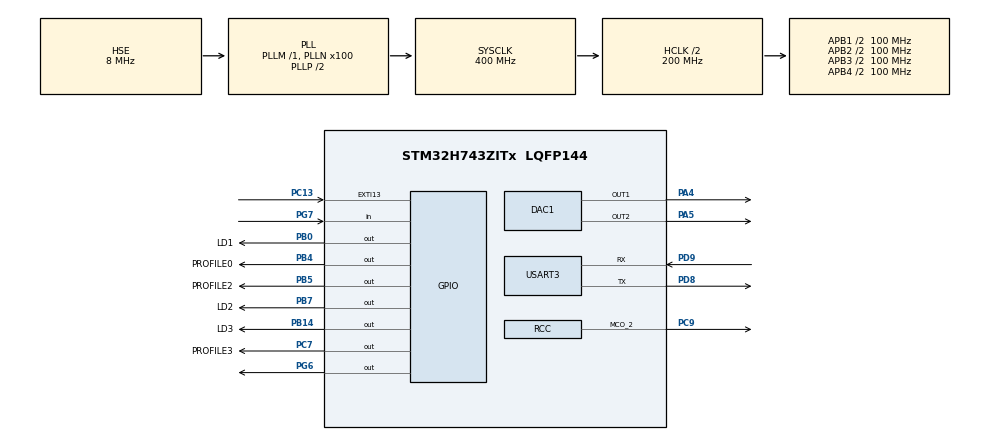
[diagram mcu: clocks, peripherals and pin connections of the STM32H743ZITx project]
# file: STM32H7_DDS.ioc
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CORTEX_M7.CPU_DCache=Disabled
CORTEX_M7.CPU_ICache=Disabled
DAC1.DAC_Channel-DAC_OUT2=DAC_CHANNEL_2
DAC1.DAC_Trigger-DAC_OUT1=DAC_TRIGGER_T6_TRGO
DAC1.DAC_Trigger-DAC_OUT2=DAC_TRIGGER_T6_TRGO
DAC1.WaveGeneration-DAC_OUT1=DISABLE
Dma.DAC1_CH1.0.Direction=DMA_MEMORY_TO_PERIPH
Dma.DAC1_CH1.0.EventEnable=DISABLE
Dma.DAC1_CH1.0.FIFOMode=DMA_FIFOMODE_DISABLE
Dma.DAC1_CH1.0.Instance=DMA1_Stream0
Dma.DAC1_CH1.0.MemDataAlignment=DMA_MDATAALIGN_WORD
Dma.DAC1_CH1.0.MemInc=DMA_MINC_ENABLE
Dma.DAC1_CH1.0.Mode=DMA_CIRCULAR
Dma.DAC1_CH1.0.PeriphDataAlignment=DMA_PDATAALIGN_WORD
Dma.DAC1_CH1.0.PeriphInc=DMA_PINC_DISABLE
Dma.DAC1_CH1.0.Polarity=HAL_DMAMUX_REQ_GEN_RISING
Dma.DAC1_CH1.0.Priority=DMA_PRIORITY_HIGH
Dma.DAC1_CH1.0.RequestNumber=1
Dma.DAC1_CH1.0.SignalID=NONE
Dma.DAC1_CH1.0.SyncEnable=DISABLE
Dma.DAC1_CH1.0.SyncPolarity=HAL_DMAMUX_SYNC_NO_EVENT
Dma.DAC1_CH1.0.SyncRequestNumber=1
Dma.DAC1_CH1.0.SyncSignalID=NONE
Dma.Request0=DAC1_CH1
Mcu.Family=STM32H7
Mcu.Name=STM32H743ZITx
Mcu.Package=LQFP144
NVIC.DMA1_Stream0_IRQn=true\:0\:0\:false\:false\:true\:false\:true
NVIC.PriorityGroup=NVIC_PRIORITYGROUP_4
PA1.GPIO_Mode=GPIO_MODE_AF_PP
PA1.GPIO_PuPd=GPIO_NOPULL
PA1.GPIO_Speed=GPIO_SPEED_FREQ_LOW
PA1.Signal=ETH_REF_CLK
PA10.GPIO_Mode=GPIO_MODE_AF_PP
PA10.GPIO_PuPd=GPIO_NOPULL
PA10.GPIO_Speed=GPIO_SPEED_FREQ_LOW
PA10.Signal=USB_OTG_FS_ID
PA11.GPIO_Mode=GPIO_MODE_AF_PP
PA11.GPIO_PuPd=GPIO_NOPULL
PA11.GPIO_Speed=GPIO_SPEED_FREQ_LOW
PA11.Signal=USB_OTG_FS_DM
PA12.GPIO_Mode=GPIO_MODE_AF_PP
PA12.GPIO_PuPd=GPIO_NOPULL
PA12.GPIO_Speed=GPIO_SPEED_FREQ_LOW
PA12.Signal=USB_OTG_FS_DP
PA13\ (JTMS/SWDIO).Mode=Serial_Wire
PA13\ (JTMS/SWDIO).Signal=DEBUG_JTMS-SWDIO
PA14\ (JTCK/SWCLK).Mode=Serial_Wire
PA14\ (JTCK/SWCLK).Signal=DEBUG_JTCK-SWCLK
PA2.GPIO_Mode=GPIO_MODE_AF_PP
PA2.GPIO_PuPd=GPIO_NOPULL
PA2.GPIO_Speed=GPIO_SPEED_FREQ_LOW
PA2.Signal=ETH_MDIO
PA4.Signal=COMP_DAC11_group
PA5.Signal=COMP_DAC12_group
PA7.GPIO_Mode=GPIO_MODE_AF_PP
PA7.GPIO_PuPd=GPIO_NOPULL
PA7.GPIO_Speed=GPIO_SPEED_FREQ_LOW
PA7.Signal=ETH_CRS_DV
PA8.GPIO_Mode=GPIO_MODE_AF_PP
PA8.GPIO_PuPd=GPIO_NOPULL
PA8.GPIO_Speed=GPIO_SPEED_FREQ_LOW
PA8.Signal=USB_OTG_FS_SOF
PA9.GPIO_Mode=GPIO_MODE_INPUT
PA9.GPIO_PuPd=GPIO_NOPULL
PA9.Signal=USB_OTG_FS_VBUS
PB0.GPIO_Label=LD1
PB0.Signal=GPIO_Output
PB13.GPIO_Mode=GPIO_MODE_AF_PP
PB13.GPIO_PuPd=GPIO_NOPULL
PB13.GPIO_Speed=GPIO_SPEED_FREQ_LOW
PB13.Signal=ETH_TXD1
PB14.GPIO_Label=LD3
PB14.GPIO_ModeDefaultOutputPP=GPIO_MODE_OUTPUT_PP
PB14.GPIO_PuPd=GPIO_NOPULL
PB14.GPIO_Speed=GPIO_SPEED_FREQ_LOW
PB14.PinState=GPIO_PIN_RESET
PB14.Signal=GPIO_Output
PB4\ (NJTRST).GPIO_Label=PROFILE0
PB4\ (NJTRST).Signal=GPIO_Output
PB5.GPIO_Label=PROFILE2
PB5.Signal=GPIO_Output
PB7.GPIO_Label=LD2
PB7.Signal=GPIO_Output
PC1.GPIO_Mode=GPIO_MODE_AF_PP
PC1.GPIO_PuPd=GPIO_NOPULL
PC1.GPIO_Speed=GPIO_SPEED_FREQ_LOW
PC1.Signal=ETH_MDC
PC13.GPIO_ModeDefaultEXTI=GPIO_MODE_IT_RISING
PC13.GPIO_PuPd=GPIO_NOPULL
PC13.Signal=GPXTI13
PC14-OSC32_IN\ (OSC32_IN).Mode=LSE-External-Oscillator
PC14-OSC32_IN\ (OSC32_IN).Signal=RCC_OSC32_IN
PC15-OSC32_OUT\ (OSC32_OUT).Mode=LSE-External-Oscillator
PC15-OSC32_OUT\ (OSC32_OUT).Signal=RCC_OSC32_OUT
PC4.GPIO_Mode=GPIO_MODE_AF_PP
PC4.GPIO_PuPd=GPIO_NOPULL
PC4.GPIO_Speed=GPIO_SPEED_FREQ_LOW
PC4.Signal=ETH_RXD0
PC5.GPIO_Mode=GPIO_MODE_AF_PP
PC5.GPIO_PuPd=GPIO_NOPULL
PC5.GPIO_Speed=GPIO_SPEED_FREQ_LOW
PC5.Signal=ETH_RXD1
PC7.GPIO_Label=PROFILE3
PC7.Signal=GPIO_Output
PC9.Mode=Clock-out-2
PC9.Signal=RCC_MCO_2
PD8.GPIO_ModeDefaultPP=GPIO_MODE_AF_PP
PD8.GPIO_PuPd=GPIO_NOPULL
PD8.GPIO_Speed=GPIO_SPEED_FREQ_LOW
PD8.Mode=Asynchronous
PD8.Signal=USART3_TX
PD9.GPIO_ModeDefaultPP=GPIO_MODE_AF_PP
PD9.GPIO_PuPd=GPIO_NOPULL
PD9.GPIO_Speed=GPIO_SPEED_FREQ_LOW
PD9.Mode=Asynchronous
PD9.Signal=USART3_RX
PG11.GPIO_Mode=GPIO_MODE_AF_PP
PG11.GPIO_PuPd=GPIO_NOPULL
PG11.GPIO_Speed=GPIO_SPEED_FREQ_LOW
PG11.Signal=ETH_TX_EN
PG13.GPIO_Mode=GPIO_MODE_AF_PP
PG13.GPIO_PuPd=GPIO_NOPULL
PG13.GPIO_Speed=GPIO_SPEED_FREQ_LOW
PG13.Signal=ETH_TXD0
PG6.GPIO_ModeDefaultOutputPP=GPIO_MODE_OUTPUT_PP
PG6.GPIO_PuPd=GPIO_NOPULL
PG6.GPIO_Speed=GPIO_SPEED_FREQ_LOW
PG6.PinState=GPIO_PIN_RESET
PG6.Signal=GPIO_Output
PG7.GPIO_Mode=GPIO_MODE_INPUT
PG7.GPIO_PuPd=GPIO_NOPULL
PG7.Signal=GPIO_Input
PH0-OSC_IN\ (PH0).Mode=HSE-External-Clock-Source
PH0-OSC_IN\ (PH0).Signal=RCC_OSC_IN
PH1-OSC_OUT\ (PH1).Signal=RCC_OSC_OUT
ProjectManager.HeapSize=0x200
ProjectManager.StackSize=0x400
ProjectManager.TargetToolchain=STM32CubeIDE
RCC.48MHZClocksFreq_Value=24000000
RCC.ADCFreq_Value=16125000
RCC.AHBFreq_Value=216000000
RCC.APB1CLKDivider=RCC_HCLK_DIV4
RCC.APB1Freq_Value=100000000
RCC.APB1TimFreq_Value=108000000
RCC.APB2CLKDivider=RCC_HCLK_DIV2
RCC.APB2Freq_Value=100000000
RCC.APB2TimFreq_Value=216000000
RCC.APB3Freq_Value=100000000
RCC.APB4Freq_Value=100000000
RCC.CortexFreq_Value=400000000
RCC.D1PPRE=RCC_APB3_DIV2
RCC.D2PPRE1=RCC_APB1_DIV2
RCC.D2PPRE2=RCC_APB2_DIV2
RCC.D3PPRE=RCC_APB4_DIV2
RCC.DIVM1=1
RCC.DIVN1=100
RCC.DIVQ1=20
RCC.HCLKFreq_Value=200000000
RCC.HPRE=RCC_HCLK_DIV2
RCC.HSE_VALUE=8000000
RCC.HSI_VALUE=64000000
RCC.PLLFRACN=0
RCC.PLLM=25
RCC.PLLMUL=RCC_PLL_MUL9
RCC.PLLN=432
RCC.PLLQ=9
RCC.PLLSourceVirtual=RCC_PLLSOURCE_HSE
RCC.PRESCALERUSB=RCC_USBCLKSOURCE_PLL_DIV1_5
RCC.PWR_Regulator_Voltage_Scale=PWR_REGULATOR_VOLTAGE_SCALE0
RCC.RCC_MCO2Source=RCC_MCO2SOURCE_HSE
RCC.SYSCLKFreq_VALUE=400000000
RCC.SYSCLKSource=RCC_SYSCLKSOURCE_PLLCLK
RCC.SYSCLKSourceVirtual=RCC_SYSCLKSOURCE_PLLCLK
RCC.USBFreq_Value=40000000
RCC.VCOOutputFreq_Value=432000000
SH.COMP_DAC11_group.0=DAC1_OUT1,DAC_OUT1
SH.COMP_DAC12_group.0=DAC1_OUT2,DAC_OUT2
TIM6.AutoReloadPreload=TIM_AUTORELOAD_PRELOAD_DISABLE
TIM6.Period=39
TIM6.TIM_MasterOutputTrigger=TIM_TRGO_UPDATE
USART3.VirtualMode-Asynchronous=VM_ASYNC
VP_TIM6_VS_ClockSourceINT.Mode=Enable_Timer
board=NUCLEO-H743ZI

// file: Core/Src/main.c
/* USER CODE BEGIN Header */
/**
  ******************************************************************************
  * @file           : main.c
  * @brief          : Main program body
  ******************************************************************************
  * @attention
  *
  * <h2><center>&copy; Copyright (c) 2020 STMicroelectronics.
  * All rights reserved.</center></h2>
  *
  * This software component is licensed by ST under BSD 3-Clause license,
  * the "License"; You may not use this file except in compliance with the
  * License. You may obtain a copy of the License at:
  *                        opensource.org/licenses/BSD-3-Clause
  *
  ******************************************************************************
  *
  *   Author of non-automatic generated code: papamidas (DM1CR)
  *   Copyright 2020 DM1CR
  *   The non-automatic generated code can be used under the GNU public license
  *
  */

/* USER CODE END Header */

#include "main.h"

/* USER CODE BEGIN Includes */
#include <math.h>
#include <inttypes.h>
#include <stdio.h>
#include <stdlib.h>
/* USER CODE END Includes */

/* USER CODE BEGIN PD */
#define DACMAX 4095
#define DACMID 2048
#define HALFBUFFERSIZE 512
#define FULLBUFFERSIZE 1024
#define SINTABLEN 65536
#define PHASEINCRESETVAL 85899346

/* USER CODE END PD */

DAC_HandleTypeDef hdac1;
DMA_HandleTypeDef hdma_dac1_ch1;

TIM_HandleTypeDef htim6;

UART_HandleTypeDef huart3;

/* USER CODE BEGIN PV */
__attribute__((section(".dma_buffer"))) uint32_t dacbuf[FULLBUFFERSIZE];

volatile uint32_t* dacbufptr = dacbuf;
volatile uint32_t phase1;
volatile uint32_t phase2;
volatile uint16_t* phase1_16ptr;
volatile uint16_t* phase2_16ptr;
uint32_t phaseinc1;
uint32_t phaseinc2;
uint16_t sintab[SINTABLEN];
uint16_t resetphase = 0;
uint16_t tracedummy = 0;

/* Pofiling/Benchmarking with ARM cycle counter
 */
volatile uint32_t cycleCounter = 0;
// addresses of registers
volatile uint32_t *DWT_CONTROL = (uint32_t *)0xE0001000;
volatile uint32_t *DWT_CYCCNT = (uint32_t *)0xE0001004;
volatile uint32_t *DEMCR = (uint32_t *)0xE000EDFC;

/* USER CODE END PV */

void SystemClock_Config(void);
static void MX_GPIO_Init(void);
static void MX_DMA_Init(void);
static void MX_USART3_UART_Init(void);
static void MX_DAC1_Init(void);
static void MX_TIM6_Init(void);
/* USER CODE BEGIN PFP */
HAL_StatusTypeDef HAL_DUALDAC_Start_DMA(DAC_HandleTypeDef *hdac, uint32_t *pData, uint32_t Length,
                                    uint32_t Alignment);
void ITM_enable(void);

/* USER CODE END PFP */

/* USER CODE BEGIN 0 */

/* calculation of the output frequency of the DDS:
 * FOUT = phaseinc * DACCLOCK / 2**PHASEBITS
 *
 * DACCLOCK: 	TIM6 is used for generating the DAC clock
 * 				TIM6 is driven by the APB1 clock, typ. 200 MHz
 * 				TIM6 prescaler and counter period determine the DAC clock
 * 				Example: 	APB1 clock = 200 MHz
 * 							prescaler = 0 (=clk division by 1)
 * 							counter period = 39
 * 				-> DACCLOCK = 200 MHz / (39+1) = 5 MHz
 *
 * phaseinc:    phaseinc = FOUT/DACCLOCK * 2**phasebits
 * 				Example:	FOUT = 100 kHz
 * 							DACCLOCK = 5 MHz
 * 							phasebits = 32
 * 				-> phaseinc = 100 kHz/5 MHz * ‭4294967296‬ = ‭‭85899346
 *
 * 	calculation of the frequency resolution of the DDS:
 * 	FRES = DACCLOCK / 2**PHASEBITS
 *
 * 				Example:	DACCLOCK = 5 MHz
 * 							phasebits = 32
 * 				-> FRES = 5 MHz / ‭4294967296 = 1,16 MilliHertz
 *
 */
void dds()
{
	for (int i=0; i<HALFBUFFERSIZE; i++){
		phase1 += phaseinc1;              //increment phase accumulator1 by phase increment value
		phase2 += phaseinc2;              //increment phase accumulator2 by phase increment value
		//HAL_GPIO_WritePin(PROFILE2_GPIO_Port, PROFILE2_Pin, GPIO_PIN_SET);
		*dacbufptr++ = sintab[*((uint16_t*)&phase1 + 1)] +
				       ((uint32_t)sintab[*((uint16_t*)&phase2 + 1)] << 16);
		//HAL_GPIO_WritePin(PROFILE2_GPIO_Port, PROFILE2_Pin, GPIO_PIN_RESET);
	}
}

void HAL_DAC_ConvCpltCallbackCh1(DAC_HandleTypeDef *hdac)
{
	HAL_GPIO_WritePin(PROFILE0_GPIO_Port, PROFILE0_Pin, GPIO_PIN_SET);
	cycleCounter = *DWT_CYCCNT;  // store current CPU cycle counter value
    dacbufptr = &dacbuf[HALFBUFFERSIZE];
    dds();
	tracedummy = *DWT_CYCCNT - cycleCounter;  // calculate elapsed CPU cycles
	HAL_GPIO_WritePin(PROFILE0_GPIO_Port, PROFILE0_Pin, GPIO_PIN_RESET);
}

void HAL_DAC_ConvHalfCpltCallbackCh1(DAC_HandleTypeDef *hdac)
{
    dacbufptr = dacbuf;
    dds();
}

/* USER CODE END 0 */

int main(void)
{
  /* USER CODE BEGIN 1 */
  for(int i=0; i<SINTABLEN; i++)
  {
	  sintab[i] = (DACMID - 1) * 0.9 * sin(i * 2.0 * M_PI / SINTABLEN) + DACMID;
  }

  phaseinc1 = PHASEINCRESETVAL;
  printf("phaseinc1 = ");
  printf("%lu\n", phaseinc1);
  phaseinc2 = PHASEINCRESETVAL;
  printf("phaseinc2 = ");
  printf("%lu\n", phaseinc2);
  //phaseinc2 = 55;

  /* Benchmarking/profiling:
   *
  */// enable the use DWT
  *DEMCR = *DEMCR | 0x01000000;
  // Reset cycle counter
  *DWT_CYCCNT = 0;
  // enable cycle counter
  *DWT_CONTROL = *DWT_CONTROL | 1 ;

  /* USER CODE END 1 */

  /* MCU Configuration--------------------------------------------------------*/

  /* Reset of all peripherals, Initializes the Flash interface and the Systick. */
  HAL_Init();

  /* Configure the system clock */
  SystemClock_Config();

  /* Initialize all configured peripherals */
  MX_GPIO_Init();
  MX_DMA_Init();
  MX_USART3_UART_Init();
  MX_DAC1_Init();
  MX_TIM6_Init();
  /* USER CODE BEGIN 2 */
  HAL_DUALDAC_Start_DMA(&hdac1, dacbuf, FULLBUFFERSIZE, DAC_ALIGN_12B_R);
  HAL_TIM_Base_Start(&htim6);
  ITM_enable();

  /* USER CODE END 2 */

  /* Infinite loop */
  /* USER CODE BEGIN WHILE */

  while (1)
  {
      if (resetphase > 0) {
    	  __disable_irq();
    	  phase1 = 0;
    	  phase2 = 0;
    	  phaseinc1 = PHASEINCRESETVAL;
    	  phaseinc2 = PHASEINCRESETVAL;
    	  resetphase = 0;
    	  __enable_irq();
      }
    /* USER CODE END WHILE */

    /* USER CODE BEGIN 3 */
      HAL_Delay(1);
  }
  /* USER CODE END 3 */
}

void SystemClock_Config(void)
{
  RCC_OscInitTypeDef RCC_OscInitStruct = {0};
  RCC_ClkInitTypeDef RCC_ClkInitStruct = {0};
  RCC_PeriphCLKInitTypeDef PeriphClkInitStruct = {0};

  /** Supply configuration update enable
  */
  HAL_PWREx_ConfigSupply(PWR_LDO_SUPPLY);
  /** Configure the main internal regulator output voltage
  */
  __HAL_PWR_VOLTAGESCALING_CONFIG(PWR_REGULATOR_VOLTAGE_SCALE0);

  while(!__HAL_PWR_GET_FLAG(PWR_FLAG_VOSRDY)) {}
  /** Initializes the CPU, AHB and APB busses clocks
  */
  RCC_OscInitStruct.OscillatorType = RCC_OSCILLATORTYPE_HSE;
  RCC_OscInitStruct.HSEState = RCC_HSE_BYPASS;
  RCC_OscInitStruct.PLL.PLLState = RCC_PLL_ON;
  RCC_OscInitStruct.PLL.PLLSource = RCC_PLLSOURCE_HSE;
  RCC_OscInitStruct.PLL.PLLM = 1;
  RCC_OscInitStruct.PLL.PLLN = 100;
  RCC_OscInitStruct.PLL.PLLP = 2;
  RCC_OscInitStruct.PLL.PLLQ = 20;
  RCC_OscInitStruct.PLL.PLLR = 2;
  RCC_OscInitStruct.PLL.PLLRGE = RCC_PLL1VCIRANGE_3;
  RCC_OscInitStruct.PLL.PLLVCOSEL = RCC_PLL1VCOWIDE;
  RCC_OscInitStruct.PLL.PLLFRACN = 0;
  if (HAL_RCC_OscConfig(&RCC_OscInitStruct) != HAL_OK)
  {
    Error_Handler();
  }
  /** Initializes the CPU, AHB and APB busses clocks
  */
  RCC_ClkInitStruct.ClockType = RCC_CLOCKTYPE_HCLK|RCC_CLOCKTYPE_SYSCLK
                              |RCC_CLOCKTYPE_PCLK1|RCC_CLOCKTYPE_PCLK2
                              |RCC_CLOCKTYPE_D3PCLK1|RCC_CLOCKTYPE_D1PCLK1;
  RCC_ClkInitStruct.SYSCLKSource = RCC_SYSCLKSOURCE_PLLCLK;
  RCC_ClkInitStruct.SYSCLKDivider = RCC_SYSCLK_DIV1;
  RCC_ClkInitStruct.AHBCLKDivider = RCC_HCLK_DIV2;
  RCC_ClkInitStruct.APB3CLKDivider = RCC_APB3_DIV2;
  RCC_ClkInitStruct.APB1CLKDivider = RCC_APB1_DIV2;
  RCC_ClkInitStruct.APB2CLKDivider = RCC_APB2_DIV2;
  RCC_ClkInitStruct.APB4CLKDivider = RCC_APB4_DIV2;

  if (HAL_RCC_ClockConfig(&RCC_ClkInitStruct, FLASH_LATENCY_2) != HAL_OK)
  {
    Error_Handler();
  }
  PeriphClkInitStruct.PeriphClockSelection = RCC_PERIPHCLK_USART3;
  PeriphClkInitStruct.Usart234578ClockSelection = RCC_USART234578CLKSOURCE_D2PCLK1;
  if (HAL_RCCEx_PeriphCLKConfig(&PeriphClkInitStruct) != HAL_OK)
  {
    Error_Handler();
  }
  HAL_RCC_MCOConfig(RCC_MCO2, RCC_MCO2SOURCE_HSE, RCC_MCODIV_1);
}

static void MX_DAC1_Init(void)
{

  DAC_ChannelConfTypeDef sConfig = {0};

  /** DAC Initialization
  */
  hdac1.Instance = DAC1;
  if (HAL_DAC_Init(&hdac1) != HAL_OK)
  {
    Error_Handler();
  }
  /** DAC channel OUT1 config
  */
  sConfig.DAC_SampleAndHold = DAC_SAMPLEANDHOLD_DISABLE;
  sConfig.DAC_Trigger = DAC_TRIGGER_T6_TRGO;
  sConfig.DAC_OutputBuffer = DAC_OUTPUTBUFFER_ENABLE;
  sConfig.DAC_ConnectOnChipPeripheral = DAC_CHIPCONNECT_DISABLE;
  sConfig.DAC_UserTrimming = DAC_TRIMMING_FACTORY;
  if (HAL_DAC_ConfigChannel(&hdac1, &sConfig, DAC_CHANNEL_1) != HAL_OK)
  {
    Error_Handler();
  }
  /** DAC channel OUT2 config
  */
  sConfig.DAC_ConnectOnChipPeripheral = DAC_CHIPCONNECT_DISABLE;
  if (HAL_DAC_ConfigChannel(&hdac1, &sConfig, DAC_CHANNEL_2) != HAL_OK)
  {
    Error_Handler();
  }

}

static void MX_TIM6_Init(void)
{

  TIM_MasterConfigTypeDef sMasterConfig = {0};

  htim6.Instance = TIM6;
  htim6.Init.Prescaler = 0;
  htim6.Init.CounterMode = TIM_COUNTERMODE_UP;
  htim6.Init.Period = 39;
  htim6.Init.AutoReloadPreload = TIM_AUTORELOAD_PRELOAD_DISABLE;
  if (HAL_TIM_Base_Init(&htim6) != HAL_OK)
  {
    Error_Handler();
  }
  sMasterConfig.MasterOutputTrigger = TIM_TRGO_UPDATE;
  sMasterConfig.MasterSlaveMode = TIM_MASTERSLAVEMODE_DISABLE;
  if (HAL_TIMEx_MasterConfigSynchronization(&htim6, &sMasterConfig) != HAL_OK)
  {
    Error_Handler();
  }

}

static void MX_USART3_UART_Init(void)
{

  huart3.Instance = USART3;
  huart3.Init.BaudRate = 115200;
  huart3.Init.WordLength = UART_WORDLENGTH_8B;
  huart3.Init.StopBits = UART_STOPBITS_1;
  huart3.Init.Parity = UART_PARITY_NONE;
  huart3.Init.Mode = UART_MODE_TX_RX;
  huart3.Init.HwFlowCtl = UART_HWCONTROL_NONE;
  huart3.Init.OverSampling = UART_OVERSAMPLING_16;
  huart3.Init.OneBitSampling = UART_ONE_BIT_SAMPLE_DISABLE;
  huart3.Init.ClockPrescaler = UART_PRESCALER_DIV1;
  huart3.AdvancedInit.AdvFeatureInit = UART_ADVFEATURE_NO_INIT;
  if (HAL_UART_Init(&huart3) != HAL_OK)
  {
    Error_Handler();
  }
  if (HAL_UARTEx_SetTxFifoThreshold(&huart3, UART_TXFIFO_THRESHOLD_1_8) != HAL_OK)
  {
    Error_Handler();
  }
  if (HAL_UARTEx_SetRxFifoThreshold(&huart3, UART_RXFIFO_THRESHOLD_1_8) != HAL_OK)
  {
    Error_Handler();
  }
  if (HAL_UARTEx_DisableFifoMode(&huart3) != HAL_OK)
  {
    Error_Handler();
  }

}

static void MX_DMA_Init(void)
{

  /* DMA controller clock enable */
  __HAL_RCC_DMA1_CLK_ENABLE();

  /* DMA interrupt init */
  /* DMA1_Stream0_IRQn interrupt configuration */
  HAL_NVIC_SetPriority(DMA1_Stream0_IRQn, 0, 0);
  HAL_NVIC_EnableIRQ(DMA1_Stream0_IRQn);

}

static void MX_GPIO_Init(void)
{
  GPIO_InitTypeDef GPIO_InitStruct = {0};

  /* GPIO Ports Clock Enable */
  __HAL_RCC_GPIOC_CLK_ENABLE();
  __HAL_RCC_GPIOH_CLK_ENABLE();
  __HAL_RCC_GPIOA_CLK_ENABLE();
  __HAL_RCC_GPIOB_CLK_ENABLE();
  __HAL_RCC_GPIOD_CLK_ENABLE();
  __HAL_RCC_GPIOG_CLK_ENABLE();

  /*Configure GPIO pin Output Level */
  HAL_GPIO_WritePin(GPIOB, LD1_Pin|LD3_Pin|PROFILE0_Pin|PROFILE2_Pin
                          |LD2_Pin, GPIO_PIN_RESET);

  /*Configure GPIO pin Output Level */
  HAL_GPIO_WritePin(GPIOG, GPIO_PIN_6, GPIO_PIN_RESET);

  /*Configure GPIO pin Output Level */
  HAL_GPIO_WritePin(PROFILE3_GPIO_Port, PROFILE3_Pin, GPIO_PIN_RESET);

  /*Configure GPIO pin : PC13 */
  GPIO_InitStruct.Pin = GPIO_PIN_13;
  GPIO_InitStruct.Mode = GPIO_MODE_IT_RISING;
  GPIO_InitStruct.Pull = GPIO_NOPULL;
  HAL_GPIO_Init(GPIOC, &GPIO_InitStruct);

  /*Configure GPIO pins : PC1 PC4 PC5 */
  GPIO_InitStruct.Pin = GPIO_PIN_1|GPIO_PIN_4|GPIO_PIN_5;
  GPIO_InitStruct.Mode = GPIO_MODE_AF_PP;
  GPIO_InitStruct.Pull = GPIO_NOPULL;
  GPIO_InitStruct.Speed = GPIO_SPEED_FREQ_LOW;
  GPIO_InitStruct.Alternate = GPIO_AF11_ETH;
  HAL_GPIO_Init(GPIOC, &GPIO_InitStruct);

  /*Configure GPIO pins : PA1 PA2 PA7 */
  GPIO_InitStruct.Pin = GPIO_PIN_1|GPIO_PIN_2|GPIO_PIN_7;
  GPIO_InitStruct.Mode = GPIO_MODE_AF_PP;
  GPIO_InitStruct.Pull = GPIO_NOPULL;
  GPIO_InitStruct.Speed = GPIO_SPEED_FREQ_LOW;
  GPIO_InitStruct.Alternate = GPIO_AF11_ETH;
  HAL_GPIO_Init(GPIOA, &GPIO_InitStruct);

  /*Configure GPIO pins : LD1_Pin LD3_Pin PROFILE0_Pin PROFILE2_Pin
                           LD2_Pin */
  GPIO_InitStruct.Pin = LD1_Pin|LD3_Pin|PROFILE0_Pin|PROFILE2_Pin
                          |LD2_Pin;
  GPIO_InitStruct.Mode = GPIO_MODE_OUTPUT_PP;
  GPIO_InitStruct.Pull = GPIO_NOPULL;
  GPIO_InitStruct.Speed = GPIO_SPEED_FREQ_LOW;
  HAL_GPIO_Init(GPIOB, &GPIO_InitStruct);

  /*Configure GPIO pin : PB13 */
  GPIO_InitStruct.Pin = GPIO_PIN_13;
  GPIO_InitStruct.Mode = GPIO_MODE_AF_PP;
  GPIO_InitStruct.Pull = GPIO_NOPULL;
  GPIO_InitStruct.Speed = GPIO_SPEED_FREQ_LOW;
  GPIO_InitStruct.Alternate = GPIO_AF11_ETH;
  HAL_GPIO_Init(GPIOB, &GPIO_InitStruct);

  /*Configure GPIO pin : PG6 */
  GPIO_InitStruct.Pin = GPIO_PIN_6;
  GPIO_InitStruct.Mode = GPIO_MODE_OUTPUT_PP;
  GPIO_InitStruct.Pull = GPIO_NOPULL;
  GPIO_InitStruct.Speed = GPIO_SPEED_FREQ_LOW;
  HAL_GPIO_Init(GPIOG, &GPIO_InitStruct);

  /*Configure GPIO pin : PG7 */
  GPIO_InitStruct.Pin = GPIO_PIN_7;
  GPIO_InitStruct.Mode = GPIO_MODE_INPUT;
  GPIO_InitStruct.Pull = GPIO_NOPULL;
  HAL_GPIO_Init(GPIOG, &GPIO_InitStruct);

  /*Configure GPIO pin : PROFILE3_Pin */
  GPIO_InitStruct.Pin = PROFILE3_Pin;
  GPIO_InitStruct.Mode = GPIO_MODE_OUTPUT_PP;
  GPIO_InitStruct.Pull = GPIO_NOPULL;
  GPIO_InitStruct.Speed = GPIO_SPEED_FREQ_LOW;
  HAL_GPIO_Init(PROFILE3_GPIO_Port, &GPIO_InitStruct);

  /*Configure GPIO pin : PC9 */
  GPIO_InitStruct.Pin = GPIO_PIN_9;
  GPIO_InitStruct.Mode = GPIO_MODE_AF_PP;
  GPIO_InitStruct.Pull = GPIO_NOPULL;
  GPIO_InitStruct.Speed = GPIO_SPEED_FREQ_LOW;
  GPIO_InitStruct.Alternate = GPIO_AF0_MCO;
  HAL_GPIO_Init(GPIOC, &GPIO_InitStruct);

  /*Configure GPIO pins : PA8 PA10 PA11 PA12 */
  GPIO_InitStruct.Pin = GPIO_PIN_8|GPIO_PIN_10|GPIO_PIN_11|GPIO_PIN_12;
  GPIO_InitStruct.Mode = GPIO_MODE_AF_PP;
  GPIO_InitStruct.Pull = GPIO_NOPULL;
  GPIO_InitStruct.Speed = GPIO_SPEED_FREQ_LOW;
  GPIO_InitStruct.Alternate = GPIO_AF10_OTG1_FS;
  HAL_GPIO_Init(GPIOA, &GPIO_InitStruct);

  /*Configure GPIO pins : PG11 PG13 */
  GPIO_InitStruct.Pin = GPIO_PIN_11|GPIO_PIN_13;
  GPIO_InitStruct.Mode = GPIO_MODE_AF_PP;
  GPIO_InitStruct.Pull = GPIO_NOPULL;
  GPIO_InitStruct.Speed = GPIO_SPEED_FREQ_LOW;
  GPIO_InitStruct.Alternate = GPIO_AF11_ETH;
  HAL_GPIO_Init(GPIOG, &GPIO_InitStruct);

}

/* USER CODE BEGIN 4 */

/**
  * @brief  Enables DUAL_DAC mode and starts conversion of both channels.
  *         ****** modified version of HAL_DAC_Start_DMA from DM1CR, Apr 5, 2020 *******
  * @param  hdac pointer to a DAC_HandleTypeDef structure that contains
  *         the configuration information for the specified DAC.
  * @param  pData The destination peripheral Buffer address.
  * @param  Length The length of data to be transferred from memory to DAC peripheral
  * @param  Alignment Specifies the data alignment for DAC channel.
  *          This parameter can be one of the following values:
  *            @arg DAC_ALIGN_8B_R: 8bit right data alignment selected
  *            @arg DAC_ALIGN_12B_L: 12bit left data alignment selected
  *            @arg DAC_ALIGN_12B_R: 12bit right data alignment selected
  * @retval HAL status
  */
HAL_StatusTypeDef HAL_DUALDAC_Start_DMA(DAC_HandleTypeDef *hdac, uint32_t *pData, uint32_t Length,
                                    uint32_t Alignment)
{
  HAL_StatusTypeDef status;
  uint32_t tmpreg = 0U;

  /* Check the parameters */
  assert_param(IS_DAC_CHANNEL(Channel));
  assert_param(IS_DAC_ALIGN(Alignment));

  /* Process locked */
  __HAL_LOCK(hdac);

  /* Change DAC state */
  hdac->State = HAL_DAC_STATE_BUSY;

  /* Set the DMA transfer complete callback for channel1 */
  hdac->DMA_Handle1->XferCpltCallback = DAC_DMAConvCpltCh1;

  /* Set the DMA half transfer complete callback for channel1 */
  hdac->DMA_Handle1->XferHalfCpltCallback = DAC_DMAHalfConvCpltCh1;

  /* Set the DMA error callback for channel1 */
  hdac->DMA_Handle1->XferErrorCallback = DAC_DMAErrorCh1;

  /* Enable the selected DAC channel1 DMA request */
  SET_BIT(hdac->Instance->CR, DAC_CR_DMAEN1);

  switch (Alignment)  {
      case DAC_ALIGN_12B_R:
                             /* Get dual mode DHR12RD address */
    	                     tmpreg = (uint32_t)&hdac->Instance->DHR12RD;
    	                     break;
      case DAC_ALIGN_12B_L:
                             /* Get dual mode DHR12LD address */
                             tmpreg = (uint32_t)&hdac->Instance->DHR12LD;
                             break;
      case DAC_ALIGN_8B_R:
                             /* Get dual mode DHR8RD address */
                             tmpreg = (uint32_t)&hdac->Instance->DHR8RD;
                             break;
      default:
                             break;
  }

  /* Enable the DMA Stream */
  /* Enable the DAC DMA underrun interrupt */
  __HAL_DAC_ENABLE_IT(hdac, DAC_IT_DMAUDR1);

  /* Enable the DMA Stream */
  status = HAL_DMA_Start_IT(hdac->DMA_Handle1, (uint32_t)pData, tmpreg, Length);

  /* Process Unlocked */
  __HAL_UNLOCK(hdac);

  if (status == HAL_OK)
  {
    /* Enable the Peripheral */
    __HAL_DAC_ENABLE(hdac, DAC_CHANNEL_1);
    __HAL_DAC_ENABLE(hdac, DAC_CHANNEL_2);
  }
  else
  {
    hdac->ErrorCode |= HAL_DAC_ERROR_DMA;
  }

  /* Return function status */
  return status;
}

void ITM_enable(void)
{
#define SWO_BASE (0x5C003000UL)
#define SWTF_BASE (0x5C004000UL)
 __IO GPIO_TypeDef *GPIOBRegs = (GPIO_TypeDef *)GPIOB;

 uint32_t SWOSpeed = 2000000; /* [Hz] we have 2 Mbps SWO speed in ST-Link SWV viewer
 if we select 400000000 Hz core clock */
 uint32_t SWOPrescaler = (SystemCoreClock / SWOSpeed) - 1; /* divider value */

 //enable debug clocks
 DBGMCU->CR = 0x00700000; //enable debug clocks

 //UNLOCK FUNNEL
 //SWTF->LAR unlock
 *((__IO uint32_t *)(SWTF_BASE + 0xFB0)) = 0xC5ACCE55; //unlock SWTF

 //SWO->LAR unlock
 *((uint32_t *)(SWO_BASE + 0xFB0)) = 0xC5ACCE55; //unlock SWO

 //SWO divider setting
 //This divider value (0x000000C7) corresponds to 400Mhz core clock
 //SWO->CODR = PRESCALER[12:0]
 *((__IO uint32_t *)(SWO_BASE + 0x010)) = SWOPrescaler; //clock divider

 //SWO set the protocol
 //SWO->SPPR = PPROT[1:0] = NRZ
 *((__IO uint32_t *)(SWO_BASE + 0x0F0)) = 0x00000002; //set to NRZ

 //Enable ITM input of SWO trace funnel, slave 0
 //SWTF->CTRL bit 0 ENSO = Enable
 *((__IO uint32_t *)(SWTF_BASE + 0x000)) |= 0x00000001; //enable

 //RCC_AHB4ENR enable GPIOB clock - maybe done already
 RCC->AHB4ENR |= RCC_AHB4ENR_GPIOBEN;

 //Configure GPIOB_MODER pin 3 as AF
 GPIOBRegs->MODER &= ~GPIO_MODER_MODE3; //clear MODER3 bits
 GPIOBRegs->MODER |=
 GPIO_MODE_AF_PP << GPIO_OSPEEDR_OSPEED3_Pos; //set MODER3 PIN3 bits as AF

 //Configure GPIOB_OSPEEDR pin 3 Speed
 GPIOBRegs->OSPEEDR &=
 ~GPIO_OSPEEDR_OSPEED3; //clear OSPEEDR3 bits
 GPIOBRegs->OSPEEDR |=
 GPIO_SPEED_FREQ_HIGH << GPIO_OSPEEDR_OSPEED3_Pos; //set OSPEEDR3 PIN3 bits as High Speed

 //Force AF0 for GPIOB_AFRL, AFR[0] for pin 3
 GPIOBRegs->AFR[0] &= ~GPIO_AFRL_AFRL3; //clear AFR2 PIN3 = 0 for AF0
}

/* USER CODE END 4 */

void Error_Handler(void)
{
}

/************************ (C) COPYRIGHT STMicroelectronics *****END OF FILE****/
